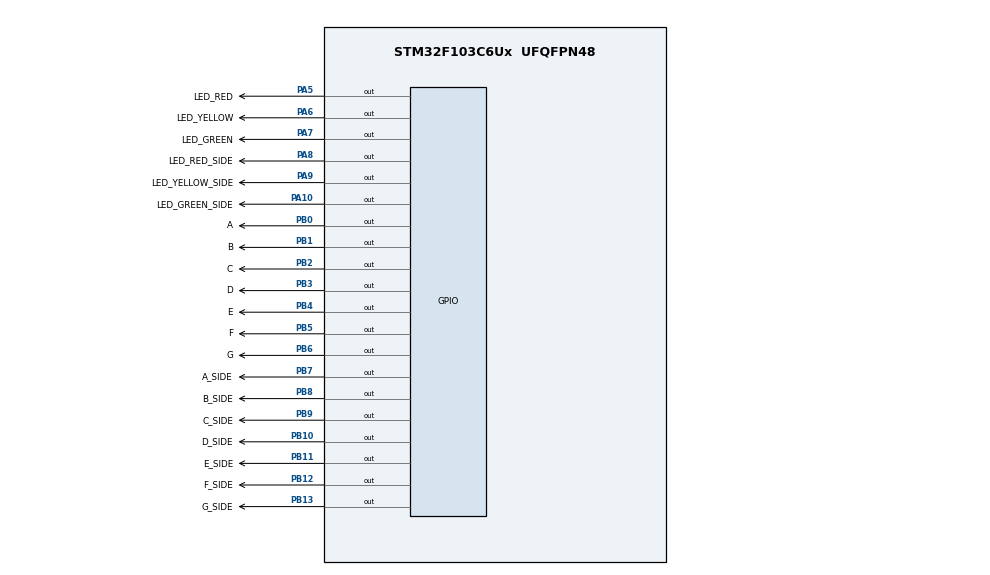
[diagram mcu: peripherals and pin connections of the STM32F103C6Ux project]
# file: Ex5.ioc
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Mcu.Family=STM32F1
Mcu.Name=STM32F103C6Ux
Mcu.Package=UFQFPN48
NVIC.PriorityGroup=NVIC_PRIORITYGROUP_4
PA10.GPIO_Label=LED_GREEN_SIDE
PA10.Signal=GPIO_Output
PA5.GPIO_Label=LED_RED
PA5.Signal=GPIO_Output
PA6.GPIO_Label=LED_YELLOW
PA6.Signal=GPIO_Output
PA7.GPIO_Label=LED_GREEN
PA7.Signal=GPIO_Output
PA8.GPIO_Label=LED_RED_SIDE
PA8.Signal=GPIO_Output
PA9.GPIO_Label=LED_YELLOW_SIDE
PA9.Signal=GPIO_Output
PB0.GPIO_Label=A
PB0.Signal=GPIO_Output
PB1.GPIO_Label=B
PB1.Signal=GPIO_Output
PB10.GPIO_Label=D_SIDE
PB10.Signal=GPIO_Output
PB11.GPIO_Label=E_SIDE
PB11.Signal=GPIO_Output
PB12.GPIO_Label=F_SIDE
PB12.Signal=GPIO_Output
PB13.GPIO_Label=G_SIDE
PB13.Signal=GPIO_Output
PB2.GPIO_Label=C
PB2.Signal=GPIO_Output
PB3.GPIO_Label=D
PB3.Signal=GPIO_Output
PB4.GPIO_Label=E
PB4.Signal=GPIO_Output
PB5.GPIO_Label=F
PB5.Signal=GPIO_Output
PB6.GPIO_Label=G
PB6.Signal=GPIO_Output
PB7.GPIO_Label=A_SIDE
PB7.Signal=GPIO_Output
PB8.GPIO_Label=B_SIDE
PB8.Signal=GPIO_Output
PB9.GPIO_Label=C_SIDE
PB9.Signal=GPIO_Output
ProjectManager.HeapSize=0x200
ProjectManager.StackSize=0x400
ProjectManager.TargetToolchain=STM32CubeIDE
RCC.APB1Freq_Value=8000000
RCC.APB2Freq_Value=8000000
VP_SYS_VS_ND.Mode=No_Debug
board=custom

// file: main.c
/* USER CODE BEGIN Header */
/**
  ******************************************************************************
  * @file           : main.c
  * @brief          : Main program body
  ******************************************************************************
  * @attention
  *
  * <h2><center>&copy; Copyright (c) 2024 STMicroelectronics.
  * All rights reserved.</center></h2>
  *
  * This software component is licensed by ST under BSD 3-Clause license,
  * the "License"; You may not use this file except in compliance with the
  * License. You may obtain a copy of the License at:
  *                        opensource.org/licenses/BSD-3-Clause
  *
  ******************************************************************************
  */
/* USER CODE END Header */
#include "main.h"

/* USER CODE BEGIN PV */
const int redTime = 5;
const int yellowTime = 2;
const int greenTime = 3;

void toggleRed(int state) {
    HAL_GPIO_WritePin(LED_RED_GPIO_Port, LED_RED_Pin, state ? SET : RESET);
}

void toggleYellow(int state) {
    HAL_GPIO_WritePin(LED_YELLOW_GPIO_Port, LED_YELLOW_Pin, state ? SET : RESET);
}

void toggleGreen(int state) {
    HAL_GPIO_WritePin(LED_GREEN_GPIO_Port, LED_GREEN_Pin, state ? SET : RESET);
}

void toggleRedSide(int state) {
    HAL_GPIO_WritePin(LED_RED_SIDE_GPIO_Port, LED_RED_SIDE_Pin, state ? SET : RESET);
}

void toggleYellowSide(int state) {
    HAL_GPIO_WritePin(LED_YELLOW_SIDE_GPIO_Port, LED_YELLOW_SIDE_Pin, state ? SET : RESET);
}

void toggleGreenSide(int state) {
    HAL_GPIO_WritePin(LED_GREEN_SIDE_GPIO_Port, LED_GREEN_SIDE_Pin, state ? SET : RESET);
}
void display7SEG(int num){
	switch (num) {
		case 0:
			HAL_GPIO_WritePin(A_GPIO_Port, A_Pin, RESET);
			HAL_GPIO_WritePin(B_GPIO_Port, B_Pin, RESET);
			HAL_GPIO_WritePin(C_GPIO_Port, C_Pin, RESET);
			HAL_GPIO_WritePin(D_GPIO_Port, D_Pin, RESET);
			HAL_GPIO_WritePin(E_GPIO_Port, E_Pin, RESET);
			HAL_GPIO_WritePin(F_GPIO_Port, F_Pin, RESET);
			HAL_GPIO_WritePin(G_GPIO_Port, G_Pin, SET);
			break;
		case 1:
			HAL_GPIO_WritePin(A_GPIO_Port, A_Pin, SET);
			HAL_GPIO_WritePin(B_GPIO_Port, B_Pin, RESET);
			HAL_GPIO_WritePin(C_GPIO_Port, C_Pin, RESET);
			HAL_GPIO_WritePin(D_GPIO_Port, D_Pin, SET);
			HAL_GPIO_WritePin(E_GPIO_Port, E_Pin, SET);
			HAL_GPIO_WritePin(F_GPIO_Port, F_Pin, SET);
			HAL_GPIO_WritePin(G_GPIO_Port, G_Pin, SET);
			break;
		case 2:
			HAL_GPIO_WritePin(A_GPIO_Port, A_Pin, RESET);
			HAL_GPIO_WritePin(B_GPIO_Port, B_Pin, RESET);
			HAL_GPIO_WritePin(C_GPIO_Port, C_Pin, SET);
			HAL_GPIO_WritePin(D_GPIO_Port, D_Pin, RESET);
			HAL_GPIO_WritePin(E_GPIO_Port, E_Pin, RESET);
			HAL_GPIO_WritePin(F_GPIO_Port, F_Pin, SET);
			HAL_GPIO_WritePin(G_GPIO_Port, G_Pin, RESET);
			break;
		case 3:
			HAL_GPIO_WritePin(A_GPIO_Port, A_Pin, RESET);
			HAL_GPIO_WritePin(B_GPIO_Port, B_Pin, RESET);
			HAL_GPIO_WritePin(C_GPIO_Port, C_Pin, RESET);
			HAL_GPIO_WritePin(D_GPIO_Port, D_Pin, RESET);
			HAL_GPIO_WritePin(E_GPIO_Port, E_Pin, SET);
			HAL_GPIO_WritePin(F_GPIO_Port, F_Pin, SET);
			HAL_GPIO_WritePin(G_GPIO_Port, G_Pin, RESET);
			break;
		case 4:
			HAL_GPIO_WritePin(A_GPIO_Port, A_Pin, SET);
			HAL_GPIO_WritePin(B_GPIO_Port, B_Pin, RESET);
			HAL_GPIO_WritePin(C_GPIO_Port, C_Pin, RESET);
			HAL_GPIO_WritePin(D_GPIO_Port, D_Pin, SET);
			HAL_GPIO_WritePin(E_GPIO_Port, E_Pin, SET);
			HAL_GPIO_WritePin(F_GPIO_Port, F_Pin, RESET);
			HAL_GPIO_WritePin(G_GPIO_Port, G_Pin, RESET);
			break;
		case 5:
			HAL_GPIO_WritePin(A_GPIO_Port, A_Pin, RESET);
			HAL_GPIO_WritePin(B_GPIO_Port, B_Pin, SET);
			HAL_GPIO_WritePin(C_GPIO_Port, C_Pin, RESET);
			HAL_GPIO_WritePin(D_GPIO_Port, D_Pin, RESET);
			HAL_GPIO_WritePin(E_GPIO_Port, E_Pin, SET);
			HAL_GPIO_WritePin(F_GPIO_Port, F_Pin, RESET);
			HAL_GPIO_WritePin(G_GPIO_Port, G_Pin, RESET);
			break;
		case 6:
			HAL_GPIO_WritePin(A_GPIO_Port, A_Pin, RESET);
			HAL_GPIO_WritePin(B_GPIO_Port, B_Pin, SET);
			HAL_GPIO_WritePin(C_GPIO_Port, C_Pin, RESET);
			HAL_GPIO_WritePin(D_GPIO_Port, D_Pin, RESET);
			HAL_GPIO_WritePin(E_GPIO_Port, E_Pin, RESET);
			HAL_GPIO_WritePin(F_GPIO_Port, F_Pin, RESET);
			HAL_GPIO_WritePin(G_GPIO_Port, G_Pin, RESET);
			break;
		case 7:
			HAL_GPIO_WritePin(A_GPIO_Port, A_Pin, RESET);
			HAL_GPIO_WritePin(B_GPIO_Port, B_Pin, RESET);
			HAL_GPIO_WritePin(C_GPIO_Port, C_Pin, RESET);
			HAL_GPIO_WritePin(D_GPIO_Port, D_Pin, SET);
			HAL_GPIO_WritePin(E_GPIO_Port, E_Pin, SET);
			HAL_GPIO_WritePin(F_GPIO_Port, F_Pin, SET);
			HAL_GPIO_WritePin(G_GPIO_Port, G_Pin, SET);
			break;
		case 8:
			HAL_GPIO_WritePin(A_GPIO_Port, A_Pin, RESET);
			HAL_GPIO_WritePin(B_GPIO_Port, B_Pin, RESET);
			HAL_GPIO_WritePin(C_GPIO_Port, C_Pin, RESET);
			HAL_GPIO_WritePin(D_GPIO_Port, D_Pin, RESET);
			HAL_GPIO_WritePin(E_GPIO_Port, E_Pin, RESET);
			HAL_GPIO_WritePin(F_GPIO_Port, F_Pin, RESET);
			HAL_GPIO_WritePin(G_GPIO_Port, G_Pin, RESET);
			break;
		case 9:
			HAL_GPIO_WritePin(A_GPIO_Port, A_Pin, RESET);
			HAL_GPIO_WritePin(B_GPIO_Port, B_Pin, RESET);
			HAL_GPIO_WritePin(C_GPIO_Port, C_Pin, RESET);
			HAL_GPIO_WritePin(D_GPIO_Port, D_Pin, RESET);
			HAL_GPIO_WritePin(E_GPIO_Port, E_Pin, SET);
			HAL_GPIO_WritePin(F_GPIO_Port, F_Pin, RESET);
			HAL_GPIO_WritePin(G_GPIO_Port, G_Pin, RESET);
			break;
		default:
			break;
	}
}
void display7SEGSide(int num) {
    switch (num) {
        case 0:
            HAL_GPIO_WritePin(A_SIDE_GPIO_Port, A_SIDE_Pin, RESET);
            HAL_GPIO_WritePin(B_SIDE_GPIO_Port, B_SIDE_Pin, RESET);
            HAL_GPIO_WritePin(C_SIDE_GPIO_Port, C_SIDE_Pin, RESET);
            HAL_GPIO_WritePin(D_SIDE_GPIO_Port, D_SIDE_Pin, RESET);
            HAL_GPIO_WritePin(E_SIDE_GPIO_Port, E_SIDE_Pin, RESET);
            HAL_GPIO_WritePin(F_SIDE_GPIO_Port, F_SIDE_Pin, RESET);
            HAL_GPIO_WritePin(G_SIDE_GPIO_Port, G_SIDE_Pin, SET);
            break;
        case 1:
            HAL_GPIO_WritePin(A_SIDE_GPIO_Port, A_SIDE_Pin, SET);
            HAL_GPIO_WritePin(B_SIDE_GPIO_Port, B_SIDE_Pin, RESET);
            HAL_GPIO_WritePin(C_SIDE_GPIO_Port, C_SIDE_Pin, RESET);
            HAL_GPIO_WritePin(D_SIDE_GPIO_Port, D_SIDE_Pin, SET);
            HAL_GPIO_WritePin(E_SIDE_GPIO_Port, E_SIDE_Pin, SET);
            HAL_GPIO_WritePin(F_SIDE_GPIO_Port, F_SIDE_Pin, SET);
            HAL_GPIO_WritePin(G_SIDE_GPIO_Port, G_SIDE_Pin, SET);
            break;
        case 2:
            HAL_GPIO_WritePin(A_SIDE_GPIO_Port, A_SIDE_Pin, RESET);
            HAL_GPIO_WritePin(B_SIDE_GPIO_Port, B_SIDE_Pin, RESET);
            HAL_GPIO_WritePin(C_SIDE_GPIO_Port, C_SIDE_Pin, SET);
            HAL_GPIO_WritePin(D_SIDE_GPIO_Port, D_SIDE_Pin, RESET);
            HAL_GPIO_WritePin(E_SIDE_GPIO_Port, E_SIDE_Pin, RESET);
            HAL_GPIO_WritePin(F_SIDE_GPIO_Port, F_SIDE_Pin, SET);
            HAL_GPIO_WritePin(G_SIDE_GPIO_Port, G_SIDE_Pin, RESET);
            break;
        case 3:
            HAL_GPIO_WritePin(A_SIDE_GPIO_Port, A_SIDE_Pin, RESET);
            HAL_GPIO_WritePin(B_SIDE_GPIO_Port, B_SIDE_Pin, RESET);
            HAL_GPIO_WritePin(C_SIDE_GPIO_Port, C_SIDE_Pin, RESET);
            HAL_GPIO_WritePin(D_SIDE_GPIO_Port, D_SIDE_Pin, RESET);
            HAL_GPIO_WritePin(E_SIDE_GPIO_Port, E_SIDE_Pin, SET);
            HAL_GPIO_WritePin(F_SIDE_GPIO_Port, F_SIDE_Pin, SET);
            HAL_GPIO_WritePin(G_SIDE_GPIO_Port, G_SIDE_Pin, RESET);
            break;
        case 4:
            HAL_GPIO_WritePin(A_SIDE_GPIO_Port, A_SIDE_Pin, SET);
            HAL_GPIO_WritePin(B_SIDE_GPIO_Port, B_SIDE_Pin, RESET);
            HAL_GPIO_WritePin(C_SIDE_GPIO_Port, C_SIDE_Pin, RESET);
            HAL_GPIO_WritePin(D_SIDE_GPIO_Port, D_SIDE_Pin, SET);
            HAL_GPIO_WritePin(E_SIDE_GPIO_Port, E_SIDE_Pin, SET);
            HAL_GPIO_WritePin(F_SIDE_GPIO_Port, F_SIDE_Pin, RESET);
            HAL_GPIO_WritePin(G_SIDE_GPIO_Port, G_SIDE_Pin, RESET);
            break;
        case 5:
            HAL_GPIO_WritePin(A_SIDE_GPIO_Port, A_SIDE_Pin, RESET);
            HAL_GPIO_WritePin(B_SIDE_GPIO_Port, B_SIDE_Pin, SET);
            HAL_GPIO_WritePin(C_SIDE_GPIO_Port, C_SIDE_Pin, RESET);
            HAL_GPIO_WritePin(D_SIDE_GPIO_Port, D_SIDE_Pin, RESET);
            HAL_GPIO_WritePin(E_SIDE_GPIO_Port, E_SIDE_Pin, SET);
            HAL_GPIO_WritePin(F_SIDE_GPIO_Port, F_SIDE_Pin, RESET);
            HAL_GPIO_WritePin(G_SIDE_GPIO_Port, G_SIDE_Pin, RESET);
            break;
        case 6:
            HAL_GPIO_WritePin(A_SIDE_GPIO_Port, A_SIDE_Pin, RESET);
            HAL_GPIO_WritePin(B_SIDE_GPIO_Port, B_SIDE_Pin, SET);
            HAL_GPIO_WritePin(C_SIDE_GPIO_Port, C_SIDE_Pin, RESET);
            HAL_GPIO_WritePin(D_SIDE_GPIO_Port, D_SIDE_Pin, RESET);
            HAL_GPIO_WritePin(E_SIDE_GPIO_Port, E_SIDE_Pin, RESET);
            HAL_GPIO_WritePin(F_SIDE_GPIO_Port, F_SIDE_Pin, RESET);
            HAL_GPIO_WritePin(G_SIDE_GPIO_Port, G_SIDE_Pin, RESET);
            break;
        case 7:
            HAL_GPIO_WritePin(A_SIDE_GPIO_Port, A_SIDE_Pin, RESET);
            HAL_GPIO_WritePin(B_SIDE_GPIO_Port, B_SIDE_Pin, RESET);
            HAL_GPIO_WritePin(C_SIDE_GPIO_Port, C_SIDE_Pin, RESET);
            HAL_GPIO_WritePin(D_SIDE_GPIO_Port, D_SIDE_Pin, SET);
            HAL_GPIO_WritePin(E_SIDE_GPIO_Port, E_SIDE_Pin, SET);
            HAL_GPIO_WritePin(F_SIDE_GPIO_Port, F_SIDE_Pin, SET);
            HAL_GPIO_WritePin(G_SIDE_GPIO_Port, G_SIDE_Pin, SET);
            break;
        case 8:
            HAL_GPIO_WritePin(A_SIDE_GPIO_Port, A_SIDE_Pin, RESET);
            HAL_GPIO_WritePin(B_SIDE_GPIO_Port, B_SIDE_Pin, RESET);
            HAL_GPIO_WritePin(C_SIDE_GPIO_Port, C_SIDE_Pin, RESET);
            HAL_GPIO_WritePin(D_SIDE_GPIO_Port, D_SIDE_Pin, RESET);
            HAL_GPIO_WritePin(E_SIDE_GPIO_Port, E_SIDE_Pin, RESET);
            HAL_GPIO_WritePin(F_SIDE_GPIO_Port, F_SIDE_Pin, RESET);
            HAL_GPIO_WritePin(G_SIDE_GPIO_Port, G_SIDE_Pin, RESET);
            break;
        case 9:
            HAL_GPIO_WritePin(A_SIDE_GPIO_Port, A_SIDE_Pin, RESET);
            HAL_GPIO_WritePin(B_SIDE_GPIO_Port, B_SIDE_Pin, RESET);
            HAL_GPIO_WritePin(C_SIDE_GPIO_Port, C_SIDE_Pin, RESET);
            HAL_GPIO_WritePin(D_SIDE_GPIO_Port, D_SIDE_Pin, RESET);
            HAL_GPIO_WritePin(E_SIDE_GPIO_Port, E_SIDE_Pin, SET);
            HAL_GPIO_WritePin(F_SIDE_GPIO_Port, F_SIDE_Pin, RESET);
            HAL_GPIO_WritePin(G_SIDE_GPIO_Port, G_SIDE_Pin, RESET);
            break;
        default:
            break;
    }
}

/* USER CODE END PV */

void SystemClock_Config(void);
static void MX_GPIO_Init(void);

int main(void)
{

  /* MCU Configuration--------------------------------------------------------*/

  /* Reset of all peripherals, Initializes the Flash interface and the Systick. */
  HAL_Init();

  /* Configure the system clock */
  SystemClock_Config();

  /* Initialize all configured peripherals */
  MX_GPIO_Init();

  /* Infinite loop */
  /* USER CODE BEGIN WHILE */
	int curState = 0;
	int curSideState = 1;
	int counter = 0;
	int counterSide = 0;
	while (1)
	{
    /* USER CODE END WHILE */
	display7SEG(counter);
	display7SEGSide(counterSide);
	int nextState = curState;
	if (counter == 0){
	  switch (curState){
	  case 0:{
		  nextState = 1;
		  counter = redTime;
		  toggleRed(1);
		  toggleYellow(0);
		  toggleGreen(0);
		  break;
	  }
	  case 1:{
		  nextState = 2;
		  counter = greenTime;
		  toggleRed(0);
		  toggleYellow(0);
		  toggleGreen(1);
		  break;
	  }
	  case 2:{
		  nextState = 0;
		  counter = yellowTime;
		  toggleRed(0);
		  toggleYellow(1);
		  toggleGreen(0);
		  break;
	  }
	  }
	}
	else counter--;
	curState = nextState;

	int nextSideState = curSideState;
	if (counterSide == 0){
	  switch (curSideState){
	  case 0:{
		  nextSideState = 1;
		  counterSide = redTime;
		  toggleRedSide(1);
		  toggleYellowSide(0);
		  toggleGreenSide(0);
		  break;
	  }
	  case 1:{
		  nextSideState = 2;
		  counterSide = greenTime;
		  toggleRedSide(0);
		  toggleYellowSide(0);
		  toggleGreenSide(1);
		  break;
	  }
	  case 2:{
		  nextSideState = 0;
		  counterSide = yellowTime;
		  toggleRedSide(0);
		  toggleYellowSide(1);
		  toggleGreenSide(0);
		  break;
	  }
	  }
	}
	else counterSide--;
	curSideState = nextSideState;
	HAL_Delay(1000);
    }
}

void SystemClock_Config(void)
{
  RCC_OscInitTypeDef RCC_OscInitStruct = {0};
  RCC_ClkInitTypeDef RCC_ClkInitStruct = {0};

  /** Initializes the RCC Oscillators according to the specified parameters
  * in the RCC_OscInitTypeDef structure.
  */
  RCC_OscInitStruct.OscillatorType = RCC_OSCILLATORTYPE_HSI;
  RCC_OscInitStruct.HSIState = RCC_HSI_ON;
  RCC_OscInitStruct.HSICalibrationValue = RCC_HSICALIBRATION_DEFAULT;
  RCC_OscInitStruct.PLL.PLLState = RCC_PLL_NONE;
  if (HAL_RCC_OscConfig(&RCC_OscInitStruct) != HAL_OK)
  {
    Error_Handler();
  }
  /** Initializes the CPU, AHB and APB buses clocks
  */
  RCC_ClkInitStruct.ClockType = RCC_CLOCKTYPE_HCLK|RCC_CLOCKTYPE_SYSCLK
                              |RCC_CLOCKTYPE_PCLK1|RCC_CLOCKTYPE_PCLK2;
  RCC_ClkInitStruct.SYSCLKSource = RCC_SYSCLKSOURCE_HSI;
  RCC_ClkInitStruct.AHBCLKDivider = RCC_SYSCLK_DIV1;
  RCC_ClkInitStruct.APB1CLKDivider = RCC_HCLK_DIV1;
  RCC_ClkInitStruct.APB2CLKDivider = RCC_HCLK_DIV1;

  if (HAL_RCC_ClockConfig(&RCC_ClkInitStruct, FLASH_LATENCY_0) != HAL_OK)
  {
    Error_Handler();
  }
}

static void MX_GPIO_Init(void)
{
  GPIO_InitTypeDef GPIO_InitStruct = {0};

  /* GPIO Ports Clock Enable */
  __HAL_RCC_GPIOA_CLK_ENABLE();
  __HAL_RCC_GPIOB_CLK_ENABLE();

  /*Configure GPIO pin Output Level */
  HAL_GPIO_WritePin(GPIOA, LED_RED_Pin|LED_YELLOW_Pin|LED_GREEN_Pin|LED_RED_SIDE_Pin
                          |LED_YELLOW_SIDE_Pin|LED_GREEN_SIDE_Pin, GPIO_PIN_RESET);

  /*Configure GPIO pin Output Level */
  HAL_GPIO_WritePin(GPIOB, A_Pin|B_Pin|C_Pin|D_SIDE_Pin
                          |E_SIDE_Pin|F_SIDE_Pin|G_SIDE_Pin|D_Pin
                          |E_Pin|F_Pin|G_Pin|A_SIDE_Pin
                          |B_SIDE_Pin|C_SIDE_Pin, GPIO_PIN_RESET);

  /*Configure GPIO pins : LED_RED_Pin LED_YELLOW_Pin LED_GREEN_Pin LED_RED_SIDE_Pin
                           LED_YELLOW_SIDE_Pin LED_GREEN_SIDE_Pin */
  GPIO_InitStruct.Pin = LED_RED_Pin|LED_YELLOW_Pin|LED_GREEN_Pin|LED_RED_SIDE_Pin
                          |LED_YELLOW_SIDE_Pin|LED_GREEN_SIDE_Pin;
  GPIO_InitStruct.Mode = GPIO_MODE_OUTPUT_PP;
  GPIO_InitStruct.Pull = GPIO_NOPULL;
  GPIO_InitStruct.Speed = GPIO_SPEED_FREQ_LOW;
  HAL_GPIO_Init(GPIOA, &GPIO_InitStruct);

  /*Configure GPIO pins : A_Pin B_Pin C_Pin D_SIDE_Pin
                           E_SIDE_Pin F_SIDE_Pin G_SIDE_Pin D_Pin
                           E_Pin F_Pin G_Pin A_SIDE_Pin
                           B_SIDE_Pin C_SIDE_Pin */
  GPIO_InitStruct.Pin = A_Pin|B_Pin|C_Pin|D_SIDE_Pin
                          |E_SIDE_Pin|F_SIDE_Pin|G_SIDE_Pin|D_Pin
                          |E_Pin|F_Pin|G_Pin|A_SIDE_Pin
                          |B_SIDE_Pin|C_SIDE_Pin;
  GPIO_InitStruct.Mode = GPIO_MODE_OUTPUT_PP;
  GPIO_InitStruct.Pull = GPIO_NOPULL;
  GPIO_InitStruct.Speed = GPIO_SPEED_FREQ_LOW;
  HAL_GPIO_Init(GPIOB, &GPIO_InitStruct);

}

void Error_Handler(void)
{
  __disable_irq();
  while (1)
  {
  }
}

/************************ (C) COPYRIGHT STMicroelectronics *****END OF FILE****/
